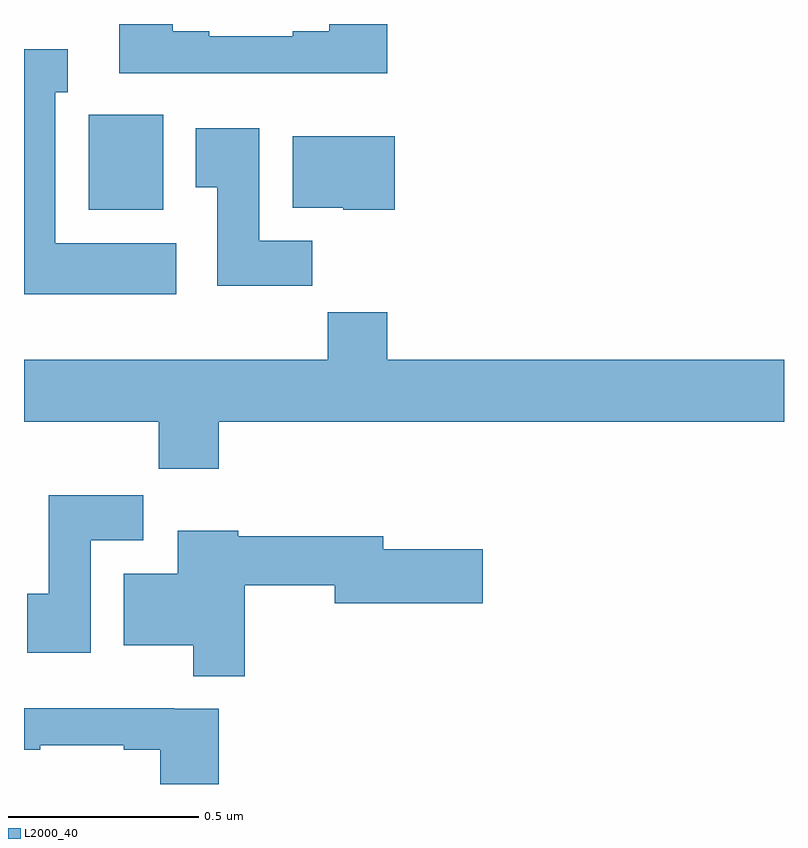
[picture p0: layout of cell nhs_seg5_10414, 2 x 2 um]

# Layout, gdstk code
import gdstk
lib = gdstk.Library(unit=1e-6, precision=1e-09)
def R(c, l, rs):  # rectangles x0, y0, x1, y1
    for r in rs: c.add(gdstk.rectangle(r[:2], r[2:], *l))
def P(c, l, *ps):  # polygons
    for p in ps: c.add(gdstk.Polygon(p, *l))
L2000_40 = (2000, 40)

nhs_seg5_10414 = lib.new_cell('nhs_seg5_10414')
R(nhs_seg5_10414, L2000_40, [(246.171,865.31,246.367,865.56)])
P(nhs_seg5_10414, L2000_40, [(246.956,865.799),(246.803,865.799),(246.803,865.78),(246.707,865.78),(246.707,865.767),(246.487,865.767),(246.487,865.78),(246.391,865.78),(246.391,865.799),(246.251,865.799),(246.251,865.67),(246.956,865.67)],
  [(246.4,865.222),(246.082,865.222),(246.082,865.619),(246.115,865.619),(246.115,865.732),(246,865.732),(246,865.088),(246.4,865.088)],
  [(246.758,865.228),(246.619,865.228),(246.619,865.525),(246.452,865.525),(246.452,865.369),(246.509,865.369),(246.509,865.11),(246.758,865.11)],
  [(246.976,865.504),(246.707,865.504),(246.707,865.316),(246.84,865.316),(246.84,865.31),(246.976,865.31)],
  [(246.512,864.752),(248,864.752),(248,864.916),(246.956,864.916),(246.956,865.04),(246.799,865.04),(246.799,864.916),(246,864.916),(246,864.752),(246.355,864.752),(246.355,864.628),(246.512,864.628)],
  [(246.175,864.44),(246.314,864.44),(246.314,864.559),(246.065,864.559),(246.065,864.3),(246.008,864.3),(246.008,864.144),(246.175,864.144)],
  [(246.581,864.322),(246.818,864.322),(246.818,864.275),(247.207,864.275),(247.207,864.417),(246.946,864.417),(246.946,864.451),(246.564,864.451),(246.564,864.466),(246.404,864.466),(246.404,864.352),(246.263,864.352),(246.263,864.164),(246.446,864.164),(246.446,864.082),(246.581,864.082)],
  [(246.512,863.997),(246.395,863.997),(246.395,863.998),(246,863.998),(246,863.889),(246.043,863.889),(246.043,863.901),(246.263,863.901),(246.263,863.889),(246.359,863.889),(246.359,863.799),(246.512,863.799)])

lib.write_gds('nhs_seg5_10414.gds')
